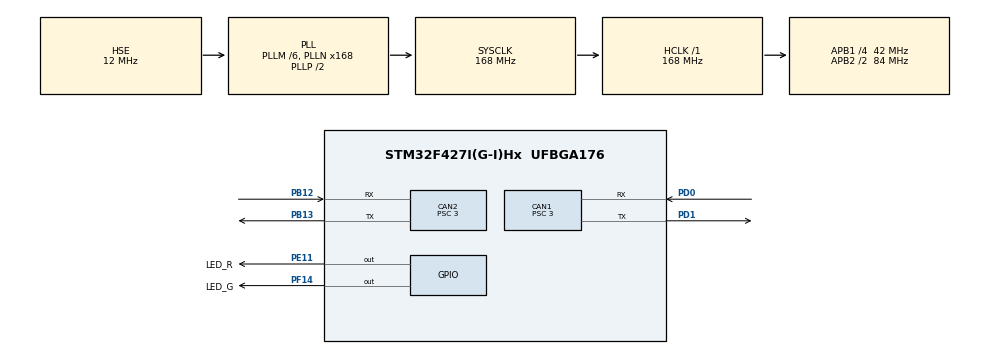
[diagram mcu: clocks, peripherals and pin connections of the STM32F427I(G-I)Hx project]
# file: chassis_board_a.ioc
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CAN1.BS1=CAN_BS1_10TQ
CAN1.BS2=CAN_BS2_3TQ
CAN1.CalculateBaudRate=1000000
CAN1.CalculateTimeBit=1000
CAN1.CalculateTimeQuantum=71.42857142857143
CAN1.Prescaler=3
CAN2.BS1=CAN_BS1_10TQ
CAN2.BS2=CAN_BS2_3TQ
CAN2.CalculateBaudRate=1000000
CAN2.CalculateTimeBit=1000
CAN2.CalculateTimeQuantum=71.42857142857143
CAN2.Prescaler=3
FREERTOS.Tasks01=defaultTask,0,128,StartDefaultTask,Default,NULL,Dynamic,NULL,NULL;communication,-3,128,communication_task,Default,NULL,Dynamic,NULL,NULL;can_6020_yaw,-3,128,gimbal_yaw_task,Default,NULL,Dynamic,NULL,NULL;can_3508,-3,128,chassis_task,Default,NULL,Dynamic,NULL,NULL
Mcu.Family=STM32F4
Mcu.Name=STM32F427I(G-I)Hx
Mcu.Package=UFBGA176
NVIC.CAN1_RX0_IRQn=true\:5\:0\:false\:false\:true\:true\:true\:true\:true
NVIC.CAN1_TX_IRQn=true\:5\:0\:false\:false\:true\:true\:true\:true\:true
NVIC.CAN2_RX0_IRQn=true\:5\:0\:false\:false\:true\:true\:true\:true\:true
NVIC.CAN2_TX_IRQn=true\:5\:0\:false\:false\:true\:true\:true\:true\:true
NVIC.PriorityGroup=NVIC_PRIORITYGROUP_4
PA13.Mode=Serial_Wire
PA13.Signal=SYS_JTMS-SWDIO
PA14.Mode=Serial_Wire
PA14.Signal=SYS_JTCK-SWCLK
PB12.Mode=CAN_Activate
PB12.Signal=CAN2_RX
PB13.Mode=CAN_Activate
PB13.Signal=CAN2_TX
PD0.Mode=CAN_Activate
PD0.Signal=CAN1_RX
PD1.Mode=CAN_Activate
PD1.Signal=CAN1_TX
PE11.GPIO_Label=LED_R
PE11.GPIO_PuPd=GPIO_PULLUP
PE11.GPIO_Speed=GPIO_SPEED_FREQ_HIGH
PE11.Signal=GPIO_Output
PF14.GPIO_Label=LED_G
PF14.GPIO_PuPd=GPIO_PULLUP
PF14.GPIO_Speed=GPIO_SPEED_FREQ_HIGH
PF14.Signal=GPIO_Output
PF6.Signal=S_TIM10_CH1
PH0/OSC_IN.Mode=HSE-External-Oscillator
PH0/OSC_IN.Signal=RCC_OSC_IN
PH1/OSC_OUT.Mode=HSE-External-Oscillator
PH1/OSC_OUT.Signal=RCC_OSC_OUT
ProjectManager.HeapSize=0x200
ProjectManager.StackSize=0x400
ProjectManager.TargetToolchain=MDK-ARM V5.32
RCC.48MHZClocksFreq_Value=84000000
RCC.AHBFreq_Value=168000000
RCC.APB1CLKDivider=RCC_HCLK_DIV4
RCC.APB1Freq_Value=42000000
RCC.APB1TimFreq_Value=84000000
RCC.APB2CLKDivider=RCC_HCLK_DIV2
RCC.APB2Freq_Value=84000000
RCC.APB2TimFreq_Value=168000000
RCC.CortexFreq_Value=168000000
RCC.HCLKFreq_Value=168000000
RCC.HSE_VALUE=12000000
RCC.HSI_VALUE=16000000
RCC.LSE_VALUE=32768
RCC.PLLM=6
RCC.PLLN=168
RCC.PLLSourceVirtual=RCC_PLLSOURCE_HSE
RCC.SYSCLKFreq_VALUE=168000000
RCC.SYSCLKSource=RCC_SYSCLKSOURCE_PLLCLK
RCC.VCOOutputFreq_Value=336000000
SH.S_TIM10_CH1.0=TIM10_CH1
VP_FREERTOS_VS_CMSIS_V1.Mode=CMSIS_V1
board=custom

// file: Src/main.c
/* USER CODE BEGIN Header */
/**
  ******************************************************************************
  * @file           : main.c
  * @brief          : Main program body
  ******************************************************************************
  * @attention
  *
  * Copyright (c) 2022 STMicroelectronics.
  * All rights reserved.
  *
  * This software is licensed under terms that can be found in the LICENSE file
  * in the root directory of this software component.
  * If no LICENSE file comes with this software, it is provided AS-IS.
  *
  ******************************************************************************
  */
/* USER CODE END Header */
#include "main.h"
#include "cmsis_os.h"
#include "can.h"
#include "gpio.h"

void SystemClock_Config(void);
void MX_FREERTOS_Init(void);

/* USER CODE BEGIN 0 */
//全局变量
uint16_t can_cnt_1;
uint16_t can_cnt_2;
float target_speed[7];//实测最大空载转速320rpm
moto_info_t motor_info[MOTOR_MAX_NUM];
pid_struct_t motor_pid[7];
uint8_t can_flag=0;
double step=9158/660;
double r;
double sin_sita;
double cos_sita;
double target_v;
int16_t target_int1;
int16_t target_int2;//用于叠加旋转和直行
double target_curl;
float yuntai_step=60*(1024-364);
/* USER CODE END 0 */

int main(void)
{

  /* MCU Configuration--------------------------------------------------------*/

  /* Reset of all peripherals, Initializes the Flash interface and the Systick. */
  HAL_Init();

  /* Configure the system clock */
  SystemClock_Config();

  /* Initialize all configured peripherals */
  MX_GPIO_Init();
  MX_CAN1_Init();
  MX_CAN2_Init();
  /* USER CODE BEGIN 2 */
  CAN_AlternateConfig();
  /* USER CODE END 2 */

  /* Call init function for freertos objects (in freertos.c) */
  MX_FREERTOS_Init();

  /* Start scheduler */
  osKernelStart();

  /* We should never get here as control is now taken by the scheduler */
  /* Infinite loop */
  while (1)
  {

  }
}

void SystemClock_Config(void)
{
  RCC_OscInitTypeDef RCC_OscInitStruct = {0};
  RCC_ClkInitTypeDef RCC_ClkInitStruct = {0};

  /** Configure the main internal regulator output voltage
  */
  __HAL_RCC_PWR_CLK_ENABLE();
  __HAL_PWR_VOLTAGESCALING_CONFIG(PWR_REGULATOR_VOLTAGE_SCALE1);

  /** Initializes the RCC Oscillators according to the specified parameters
  * in the RCC_OscInitTypeDef structure.
  */
  RCC_OscInitStruct.OscillatorType = RCC_OSCILLATORTYPE_HSE;
  RCC_OscInitStruct.HSEState = RCC_HSE_ON;
  RCC_OscInitStruct.PLL.PLLState = RCC_PLL_ON;
  RCC_OscInitStruct.PLL.PLLSource = RCC_PLLSOURCE_HSE;
  RCC_OscInitStruct.PLL.PLLM = 6;
  RCC_OscInitStruct.PLL.PLLN = 168;
  RCC_OscInitStruct.PLL.PLLP = RCC_PLLP_DIV2;
  RCC_OscInitStruct.PLL.PLLQ = 4;
  if (HAL_RCC_OscConfig(&RCC_OscInitStruct) != HAL_OK)
  {
    Error_Handler();
  }

  /** Initializes the CPU, AHB and APB buses clocks
  */
  RCC_ClkInitStruct.ClockType = RCC_CLOCKTYPE_HCLK|RCC_CLOCKTYPE_SYSCLK
                              |RCC_CLOCKTYPE_PCLK1|RCC_CLOCKTYPE_PCLK2;
  RCC_ClkInitStruct.SYSCLKSource = RCC_SYSCLKSOURCE_PLLCLK;
  RCC_ClkInitStruct.AHBCLKDivider = RCC_SYSCLK_DIV1;
  RCC_ClkInitStruct.APB1CLKDivider = RCC_HCLK_DIV4;
  RCC_ClkInitStruct.APB2CLKDivider = RCC_HCLK_DIV2;

  if (HAL_RCC_ClockConfig(&RCC_ClkInitStruct, FLASH_LATENCY_5) != HAL_OK)
  {
    Error_Handler();
  }
}

void Error_Handler(void)
{
  __disable_irq();
  while (1)
  {
  }
}

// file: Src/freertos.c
/* USER CODE BEGIN Header */
/**
 ******************************************************************************
 * File Name          : freertos.c
 * Description        : Code for freertos applications
 ******************************************************************************
 * @attention
 *
 * Copyright (c) 2022 STMicroelectronics.
 * All rights reserved.
 *
 * This software is licensed under terms that can be found in the LICENSE file
 * in the root directory of this software component.
 * If no LICENSE file comes with this software, it is provided AS-IS.
 *
 ******************************************************************************
 */
/* USER CODE END Header */

#include "FreeRTOS.h"
#include "task.h"
#include "main.h"
#include "cmsis_os.h"

/* USER CODE BEGIN Includes */
#include "remote_control.h"
#include "math.h"
#include "PID.h"
/* USER CODE END Includes */

osThreadId defaultTaskHandle;
osThreadId communicationHandle;
osThreadId can_6020_yawHandle;
osThreadId can_3508Handle;

void StartDefaultTask(void const * argument);
void communication_task(void const * argument);
void gimbal_yaw_task(void const * argument);
void chassis_task(void const * argument);

void MX_FREERTOS_Init(void); /* (MISRA C 2004 rule 8.1) */

/* GetIdleTaskMemory prototype (linked to static allocation support) */
void vApplicationGetIdleTaskMemory( StaticTask_t **ppxIdleTaskTCBBuffer, StackType_t **ppxIdleTaskStackBuffer, uint32_t *pulIdleTaskStackSize );

/* USER CODE BEGIN GET_IDLE_TASK_MEMORY */
static StaticTask_t xIdleTaskTCBBuffer;
static StackType_t xIdleStack[configMINIMAL_STACK_SIZE];

void vApplicationGetIdleTaskMemory(StaticTask_t **ppxIdleTaskTCBBuffer, StackType_t **ppxIdleTaskStackBuffer, uint32_t *pulIdleTaskStackSize)
{
  *ppxIdleTaskTCBBuffer = &xIdleTaskTCBBuffer;
  *ppxIdleTaskStackBuffer = &xIdleStack[0];
  *pulIdleTaskStackSize = configMINIMAL_STACK_SIZE;
  /* place for user code */
}
/* USER CODE END GET_IDLE_TASK_MEMORY */

void MX_FREERTOS_Init(void) {

  /* Create the thread(s) */
  /* definition and creation of defaultTask */
  osThreadDef(defaultTask, StartDefaultTask, osPriorityNormal, 0, 128);
  defaultTaskHandle = osThreadCreate(osThread(defaultTask), NULL);

  /* definition and creation of communication */
  osThreadDef(communication, communication_task, osPriorityIdle, 0, 128);
  communicationHandle = osThreadCreate(osThread(communication), NULL);

  /* definition and creation of can_6020_yaw */
  osThreadDef(can_6020_yaw, gimbal_yaw_task, osPriorityIdle, 0, 128);
  can_6020_yawHandle = osThreadCreate(osThread(can_6020_yaw), NULL);

  /* definition and creation of can_3508 */
  osThreadDef(can_3508, chassis_task, osPriorityIdle, 0, 128);
  can_3508Handle = osThreadCreate(osThread(can_3508), NULL);

}

void StartDefaultTask(void const * argument)
{
  for(;;)
  {
    osDelay(1);
  }
}

void communication_task(void const * argument)
{
  /* USER CODE BEGIN communication_task */
  //板间通讯在can接收回调函数中实现 HAL_CAN_RxFifo0MsgPendingCallback
  /* Infinite loop */
  motor_info[0].set_voltage = 0;
  motor_info[1].set_voltage = 0;
  motor_info[2].set_voltage = 0;
  motor_info[3].set_voltage = 0; //防止bug
  motor_info[4].set_voltage = 0;
  for (;;)
  {
    if (rc_ctrl.rc.ch[3] > 300)
    {
      can_flag = 1;
      HAL_GPIO_WritePin(GPIOH, GPIO_PIN_10, GPIO_PIN_SET);
    }
    osDelay(1);
  }
  /* USER CODE END communication_task */
}

void gimbal_yaw_task(void const * argument)
{
  /* USER CODE BEGIN gimbal_yaw_task */
  /* Infinite loop */
  pid_init(&motor_pid[4], 40, 3, 0, 30000, 30000); // init pid parameter, kp=40, ki=3, kd=0, output limit = 30000
  for(;;)//yaw轴随rc通道0转动
  {
    if(can_flag==1)
    {
      if (rc_ctrl.rc.ch[0] >= 974 && rc_ctrl.rc.ch[0] <= 1074) //回中
      {
        if (motor_info[4].rotor_speed > 10 || motor_info[4].rotor_speed < -10) //减震(?)
        {
          target_speed[4] = 0;
          motor_info[4].set_voltage = pid_calc(&motor_pid[4], target_speed[4], motor_info[4].rotor_speed);
        }
        else
        {
          motor_info[4].set_voltage = 0;
        }
      }else
      {
        if(rc_ctrl.rc.ch[0]>=364&&rc_ctrl.rc.ch[0]<=1684)
        {
          target_speed[4] = -((rc_ctrl.rc.ch[0] - 1024) / 660 * 40); //60为转速 即 60rpm
          motor_info[4].set_voltage = pid_calc(&motor_pid[4], target_speed[4], motor_info[4].rotor_speed);
        }
      }
      //set_motor_voltage1(1, motor_info[4].set_voltage, motor_info[5].set_voltage, motor_info[6].set_voltage, 0);
    }
    osDelay(1);
  }
  /* USER CODE END gimbal_yaw_task */
}

void chassis_task(void const * argument)
{
  /* USER CODE BEGIN chassis_task */
  //驱动3508麦轮底盘，can的接收频率明显比uart�?(can红灯闪烁频率>uart蓝灯闪烁频率)
  /* Infinite loop */
  for (uint8_t i = 0; i < 4; i++) //先将pid赋初�?
  {
    pid_init(&motor_pid[i], 30, 0, 0, 16384, 16384); // init pid parameter, kp=40, ki=3, kd=0, output limit = 16384
  }                                                   // P高了就会抖动，返回�?�溢出，超过80电机有移动就会抖动，超过100直接�?�?(除非你设定的速度�?>=320)

  for (;;)
  {
    for (uint8_t i = 0; i < 4; i++)
    {                                                                                                  //�?大�?�为482*19=9158
      motor_info[i].set_voltage = pid_calc(&motor_pid[i], target_speed[i], motor_info[i].rotor_speed); //解算PID输出
    }                                                                                                  //经测试，float的�?�赋给int时，会直接舍去小数点后面的数(不是四舍五入)
    if (can_flag == 1)                                                                                 // can通信成功,->35```````````````````````08
    {

      if ((rc_ctrl.rc.ch[2] >= 974 && rc_ctrl.rc.ch[2] <= 1074) && ((rc_ctrl.rc.ch[3] >= 974) && (rc_ctrl.rc.ch[3] <= 1074)) && (rc_ctrl.rc.ch[4] <= 1074) && (rc_ctrl.rc.ch[4] >= 974))
      {
        for (int i = 0; i < 4; i++) //减�??
        {
          if (motor_info[i].rotor_speed > 720 || motor_info[i].rotor_speed < -720)
          {
            target_speed[i] = 0;
            motor_info[i].set_voltage = pid_calc(&motor_pid[i], target_speed[i], motor_info[i].rotor_speed);
          }
          else
          {
            motor_info[i].set_voltage = 0;
          }
        }
      }
      else
      {
        if (rc_ctrl.rc.ch[4] > 1074)
        {
          target_curl = sqrt((rc_ctrl.rc.ch[4] - 1024) * (rc_ctrl.rc.ch[4] - 1024)) / 660;
        } //不会强制转换，但用这个可以实�?
        else if (rc_ctrl.rc.ch[4] < 974)
        {
          target_curl = -(sqrt((rc_ctrl.rc.ch[4] - 1024) * (rc_ctrl.rc.ch[4] - 1024)) / 660);
        }
        else
        {
          target_curl = 0;
        }
        target_curl = target_curl * 16384;
        int16_t target_curl_int = target_curl;

        r = sqrt((rc_ctrl.rc.ch[3] - 1024) * (rc_ctrl.rc.ch[3] - 1024) + (rc_ctrl.rc.ch[2] - 1024) * (rc_ctrl.rc.ch[2] - 1024));
        sin_sita = (rc_ctrl.rc.ch[3] - 1024) / r;
        cos_sita = (rc_ctrl.rc.ch[2] - 1024) / r;
        target_v = (r / 660) * 16384 ;

        if (target_curl == 0)
        {
          target_speed[0] = (0.707 * target_v * (sin_sita - cos_sita));
          target_speed[1] = -(0.707 * target_v * (sin_sita + cos_sita));
          target_speed[2] = -(0.707 * target_v * (sin_sita - cos_sita));
          target_speed[3] = (0.707 * target_v * (sin_sita + cos_sita)); //保护不旋转只移动时的底盘功率上限
        }
        else
        {
          target_int1 = (0.707 * target_v * (sin_sita - cos_sita)) / 2; //经测验，double和float类型可以做乘除，做加减会出现NAN,因此转换成int做加减法，注意不要使用uint（无符号型）
          target_int2 = (0.707 * target_v * (sin_sita + cos_sita)) / 2;

          target_speed[0] = (target_int1 - target_curl_int) / 2;
          target_speed[1] = (-target_int2 - target_curl_int) / 2;
          target_speed[2] = (-target_int1 - target_curl_int) / 2;
          target_speed[3] = (target_int2 - target_curl_int) / 2; //不�?2会越�?
        }
      }
    }
    else //连接未成�?
    {
      motor_info[0].set_voltage = 0;
      motor_info[1].set_voltage = 0;
      motor_info[2].set_voltage = 0;
      motor_info[3].set_voltage = 0;
    }

    // set_motor_voltage(0,
    //                   motor_info[0].set_voltage,
    //                   motor_info[1].set_voltage,
    //                   motor_info[2].set_voltage,
    //                   motor_info[3].set_voltage);
    osDelay(1);
  }
  /* USER CODE END chassis_task */
}
